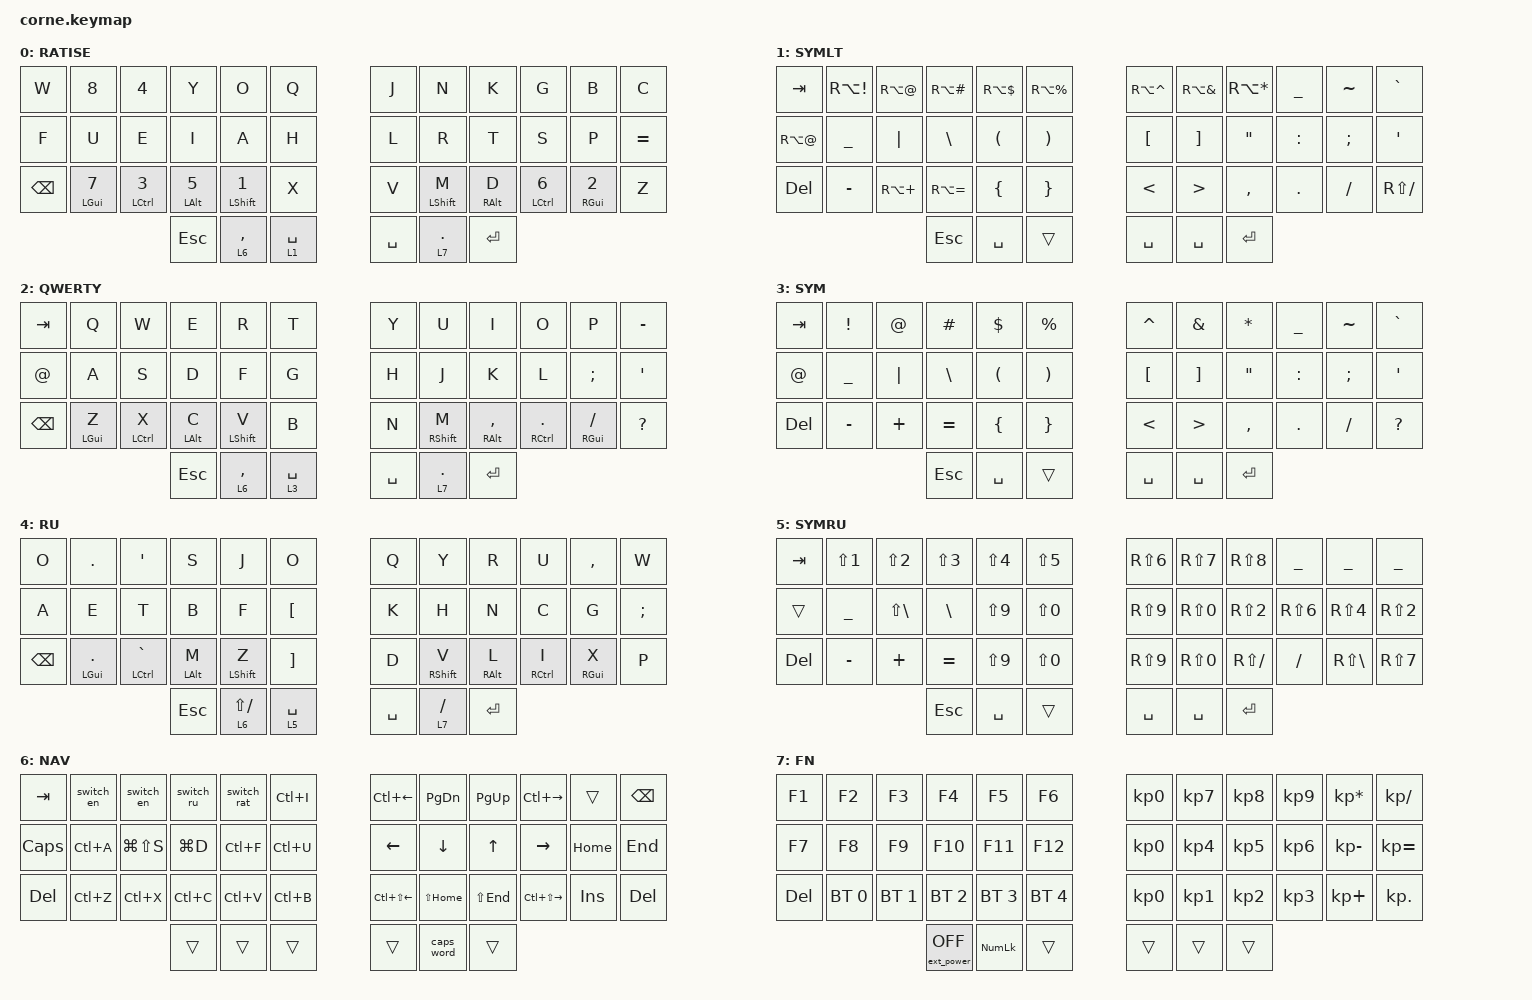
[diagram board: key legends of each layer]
/*
 * Copyright (c) 2020 The ZMK Contributors
 *
 * SPDX-License-Identifier: MIT
 */

#include <behaviors.dtsi>
#include <dt-bindings/zmk/keys.h>
#include <dt-bindings/zmk/bt.h>
#include <dt-bindings/zmk/ext_power.h>
#include "behaviors.dtsi"

/ {
        keymap {
                compatible = "zmk,keymap";

                rat_layer {
                        label = "RATISE";
                        // 0: RATISE layer -----------------------------------------------------------------
                        // |  Q  |  Ū  |  Ė  |  Y  |  O  |  F  |-------|  J  |  N  |  K  |  G  |  B  |  C  |
                        // |  W  |  U  |  E  |  I  |  A  |  H  |-------|  L  |  R  |  T  |  S  |  P  |  Z  |
                        // |  -  |  Ų  |  Ę  |  Į  |  Ą  |  X  |-------|  V  |  M  |  D  |  Š  |  Č  |  Ž  |
                        //                   | ESC | NAV | SPC |-------| SPC | SYM  | RET |
                        bindings = <
   &kp W    &kp N8      &kp N4        &kp Y       &kp O         &kp Q         &kp J &kp N       &kp K       &kp G         &kp B       &kp C
   &kp F    &kp U       &kp E         &kp I       &kp A         &kp H         &kp L &kp R       &kp T       &kp S         &kp P       &kp EQUAL
   &kp BSPC &hm LGUI N7 &hm LCTRL N3  &hm LALT N5 &hm LSHFT N1  &kp X         &kp V &hm LSHFT M &hm RALT D  &hm LCTRL N6  &hm RGUI N2 &kp Z
                                    &kp ESC   &lt 6 COMMA   &lt 1 SPACE      &kp SPACE   &lt 7 DOT   &kp RET
                        >;
                };

                symlt_layer {
                        label = "SYMLT";
                        // 1: SYM layer ---------------------------------------------------------------------
                        // | TAB |  !  |  @  |  #  |  $  |  %  |-------|  ^  |  &  |  *  |  _  |  ~  |  `  |
                        // | @   |  _  | '|' |  \  |  (  |  )  |-------|  [  |  ]  |  "  |  :  |  ;  |  '  |
                        // | DEL |  -  |  +  |  =  |  {  |  }  |-------|  <  |  >  |  ,  |  .  |  /  |  ?  |
                        //                  |escape|space|xxxxx|-------|space|space|return|
                        bindings = <
   &kp TAB    &kp RA(EXCL) &kp RA(AT)    &kp RA(HASH)  &kp RA(DLLR)  &kp RA(PRCNT)     &kp RA(CARET) &kp RA(AMPS)  &kp RA(ASTRK) &kp UNDER &kp TILDE  &kp GRAVE 
   &kp RA(AT) &kp UNDER    &kp PIPE      &kp BSLH      &kp LPAR      &kp RPAR          &kp LBKT      &kp RBKT      &kp DQT       &kp COLON &kp SEMI      &kp SQT
   &kp DEL    &kp MINUS    &kp RA(PLUS)  &kp RA(EQUAL) &kp LBRC      &kp RBRC          &kp LT        &kp GT        &kp COMMA     &kp DOT   &kp FSLH      &kp RS(FSLH)
                                                &kp ESC   &kp SPACE   &trans        &kp SPACE   &kp SPACE   &kp RET
                        >;
                };

                qwerty_layer {
                        label = "QWERTY";
                        // 2: ---------------------------------------------------------------------------------
                        // |  TAB |  Q  |  W  |  E  |  R  |  T  |-------|  Y  |  U   |  I  |  O  |  P  | BSPC |
                        // | @    |  A  |  S  |  D  |  F  |  G  |-------|  H  |  J   |  K  |  L  |  ;  |  '   |
                        // | -    |  Z  |  X  |  C  |  V  |  B  |-------|  N  |  M   |  ,  |  .  |  /  | !    |
                        //                    | ESC | NAV | SPC |-------| SPC | SYM  | RET |
                        bindings = <
   &kp TAB   &kp Q      &kp W       &kp E       &kp R       &kp T         &kp Y     &kp U       &kp I           &kp O         &kp P         &kp MINUS
   &kp AT    &kp A      &kp S       &kp D       &kp F       &kp G         &kp H     &kp J       &kp K           &kp L         &kp SEMI      &kp SQT
   &kp BSPC  &hm LGUI Z &hm LCTRL X &hm LALT C  &hm LSHFT V &kp B         &kp N     &hm RSHFT M &hm RALT COMMA  &hm RCTRL DOT &hm RGUI FSLH &kp QMARK
                                  &kp ESC   &lt 6 COMMA   &lt 3 SPACE   &kp SPACE   &lt 7 DOT   &kp RET
                        >;
                };

                sym_layer {
                        label = "SYM";
                        // 3: SYM layer ---------------------------------------------------------------------
                        // | TAB |  !  |  @  |  #  |  $  |  %  |-------|  ^  |  &  |  *  |  _  |  ~  |  `  |
                        // | @   |  _  | '|' |  \  |  (  |  )  |-------|  [  |  ]  |  "  |  :  |  ;  |  '  |
                        // | -   |  -  |  +  |  =  |  {  |  }  |-------|  <  |  >  |  ,  |  .  |  /  |  ?  |
                        //                   |     |     |     |-------|     |caps_w|     |
                        bindings = <
   &kp TAB  &kp EXCL   &kp AT     &kp HASH   &kp DLLR   &kp PRCNT       &kp CARET  &kp AMPS   &kp ASTRK  &kp UNDER  &kp TILDE  &kp GRAVE
   &kp AT   &kp UNDER  &kp PIPE   &kp BSLH   &kp LPAR   &kp RPAR        &kp LBKT   &kp RBKT   &kp DQT    &kp COLON  &kp SEMI   &kp SQT
   &kp DEL  &kp MINUS  &kp PLUS   &kp EQUAL  &kp LBRC   &kp RBRC        &kp LT     &kp GT     &kp COMMA  &kp DOT    &kp FSLH   &kp QMARK
                                    &kp ESC   &kp SPACE   &trans       &kp SPACE   &kp SPACE   &kp RET
                        >;
                };
                ru_layer {
                        label = "RU";
                        // 4: RU layer ----------------------------------------------------------------------
                        // |  Щ  |  Ю  |  Э  |  Ы  |  О  |  Щ  |-------|  Й  |  Н  |  К  |  Г  |  П  |  Ц  |
                        // |  Ф  |  У  |  Е  |  И  |  А  |  Х  |-------|  Л  |  Р  |  Т  |  С  |  П  |  Ж  |
                        // | BSPC|  Ю  |  Ё  |  Ь  |  Я  |  Ъ  |-------|  В  |  М  |  Д  |  Ш  |  Ч  |  З  |
                        //                   | ESC | NAV | SPC |-------| SPC | SYM | RET |
                        bindings = <
   &kp O    &kp DOT       &kp SQT         &kp S       &kp J       &kp O         &kp Q     &kp Y       &kp R       &kp U       &kp COMMA   &kp W
   &kp A    &kp E         &kp T           &kp B       &kp F       &kp LBKT      &kp K     &kp H       &kp N       &kp C       &kp G       &kp SEMI
   &kp BSPC &hm LGUI DOT  &hm LCTRL GRAVE &hm LALT M  &hm LSHFT Z &kp RBKT      &kp D     &hm RSHFT V &hm RALT L  &hm RCTRL I &hm RGUI X  &kp P
                                      &kp ESC   &lt 6 LS(FSLH)   &lt 5 SPACE   &kp SPACE &lt 7 FSLH   &kp RET
                        >;
                };

                symru_layer {
                        label = "SYMRU";
                        // 5: SYMRU layer ---------------------------------------------------------------------
                        // | TAB |  ю  |  ж  |  ё  |  ;  |  %  |------|  :  |  ?   |  *  |  _  |  _  |  _  |
                        // |CAPS |  _  |  /  |  \  |  (  |  )  |------|  (  |  )   |  "  |  :  |  ;  |  "  |
                        // |BSPC |  -  |  +  |  =  |  (  |  )  |------|  (  |  )   |  ,  |  .  |  /  |  ?  |
                        //                   | ESC | NAV | SPC |------| SPC | SYM  | RET |
                        bindings = <
   &kp TAB &kp LS(N1) &kp LS(N2)   &kp LS(N3) &kp LS(N4) &kp LS(N5)     &kp RS(N6) &kp RS(N7) &kp RS(N8)   &kp UNDER  &kp UNDER    &kp UNDER 
   &trans  &kp UNDER  &kp LS(BSLH) &kp BSLH   &kp LS(N9) &kp LS(N0)     &kp RS(N9) &kp RS(N0) &kp RS(N2)   &kp RS(N6) &kp RS(N4)   &kp RS(N2)
   &kp DEL &kp MINUS  &kp PLUS     &kp EQUAL  &kp LS(N9) &kp LS(N0)     &kp RS(N9) &kp RS(N0) &kp RS(FSLH) &kp FSLH   &kp RS(BSLH) &kp RS(N7)
                                      &kp ESC   &kp SPACE   &trans        &kp SPACE   &kp SPACE   &kp RET
                        >;
                };

                nav_layer {
                        label = "NAV";
                        // 6: NAV layer -------------------------------------------------------------
                        // | TAB |  EN |  EN |  RU | RAT | C_I |-------|  C_LFT |   PGDN | PGUP  | C_RGT |      | BSPC |
                        // |CAPS | C_A | WS_S| W_D | C_F | C_U |-------|   LFT  |   DWN  |  UP   |  RGT  | HOME | END  |
                        // | DEL | C_Z | C_X | C_C | C_V | C_B |-------| CS_LFT | S_HOME | S_END | CS_RGT| INS  | DEL  |
                        //                   |     |     |     |-------|        | caps_w |       |
                        bindings = <
   &kp TAB   &switch_en &switch_en    &switch_ru &switch_rat &kp LC(I)     &kp LC(LEFT)     &kp PG_DN    &kp PG_UP   &kp LC(RIGHT)     &trans   &kp BSPC
   &kp CAPS  &kp LC(A)  &kp LG(LS(S)) &kp LG(D)  &kp LC(F)   &kp LC(U)     &kp LEFT         &kp DOWN     &kp UP      &kp RIGHT         &kp HOME &kp END
   &kp DEL   &kp LC(Z)  &kp LC(X)     &kp LC(C)  &kp LC(V)   &kp LC(B)     &kp LC(LS(LEFT)) &kp LS(HOME) &kp LS(END) &kp LC(LS(RIGHT)) &kp INS  &kp DEL
                        &trans        &trans     &trans        &trans       &caps_word      &trans
                        >;
                };

                fn_layer {
                        label = "FN";
                        // 7: FN layer --------------------------------------------------------------------
                        // | F1  | F2  | F3  | F4  | F5  | F6  |---|  0  |  7  |  8  |  9  |  *  |  /   |
                        // | F7  | F8  | F9  | F10 | F11 | F12 |---|  0  |  4  |  5  |  6  |  -  |  =   |
                        // | DEL | BT1 | BT2 | BT3 | BT4 | BT5 |---|  0  |  1  |  2  |  3  |  +  |  .   |
                        //                   | PWR | NUM |     |---|     |     |     |
                        bindings = <
   &kp F1     &kp F2       &kp F3       &kp F4       &kp F5       &kp F6        &kp KP_N0  &kp KP_N7  &kp KP_N8  &kp KP_N9  &kp KP_MULTIPLY &kp KP_DIVIDE
   &kp F7     &kp F8       &kp F9       &kp F10      &kp F11      &kp F12       &kp KP_N0  &kp KP_N4  &kp KP_N5  &kp KP_N6  &kp KP_MINUS    &kp KP_EQUAL
   &kp DEL    &bt BT_SEL 0 &bt BT_SEL 1 &bt BT_SEL 2 &bt BT_SEL 3 &bt BT_SEL 4  &kp KP_N0  &kp KP_N1  &kp KP_N2  &kp KP_N3  &kp KP_PLUS     &kp KP_DOT
                                  &ext_power EP_OFF  &kp KP_NLCK  &trans        &trans     &trans     &trans
                        >;
                };
        };
};
